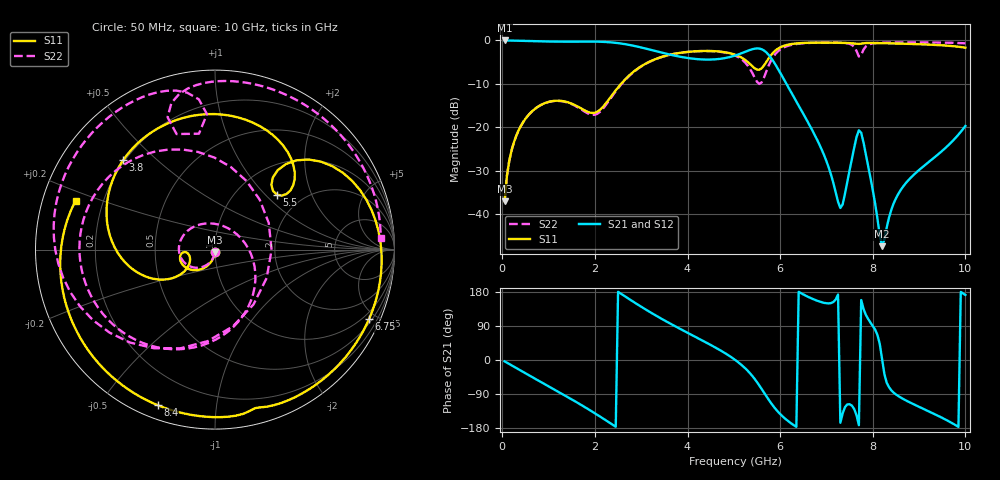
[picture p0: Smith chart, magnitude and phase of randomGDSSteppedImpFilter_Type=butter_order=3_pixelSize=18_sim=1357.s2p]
! freq	dB(S11)	phase(S11)	dB(S12)	phase(S12)
!  dB(S21)	phase(S21)	dB(S22)	phase(S22)
!S-par simulation data
#  GHz  S  DB  R 50
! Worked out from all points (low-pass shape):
!   200 points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, 50 MHz to 10 GHz, reference 50 ohm
!   highest |S21| = -0.01 dB at 50 MHz (marker M1); lowest = -47.4 dB at 8.2 GHz (marker M2)
!   |S21| within 3 dB of the highest: start of sweep to 3.519 GHz; 5.153 GHz to 5.724 GHz (571.1 MHz wide, 10.5 % of centre)
!   lowest |S11| = -37.0 dB at 50 MHz (marker M3), VSWR 1.03, Z = 49.9 - j1.41 ohm
!   |S11| at or under -10 dB: start of sweep to 2.565 GHz
!   |S22| runs from -37.0 to -0.5 dB; largest |S21 - S12| = 0
!   S11 on the Smith chart (normalised r, x): 50 MHz: 1.00, -0.03; 3.8 GHz: 0.19, +0.39; 5.5 GHz: 1.51, +1.17; 6.75 GHz: 0.67, -4.56; 8.4 GHz: 0.06, -0.70; 10 GHz: 0.10, +0.17
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0.05  -37.00 -91.6  -0.01 -3.6  -0.01 -3.6  -37.01 -92.2
0.2  -25.32 -103.0  -0.04 -14.1  -0.04 -14.1  -25.33 -104.9
0.55  -17.36 -125.9  -0.13 -38.5  -0.13 -38.5  -17.37 -131.9
1.15  -13.89 -160.0  -0.28 -79.6  -0.28 -79.6  -13.93 -179.9
1.75  -15.94 -174.3  -0.26 -121.9  -0.26 -121.9  -16.20 110.3
2.5  -10.81 -146.3  -0.62 179.9  -0.62 179.9  -11.01 -37.0
3.4  -3.95 162.2  -2.70 111.4  -2.70 111.4  -3.97 -120.8
3.8  -2.93 135.9  -3.67 84.7  -3.67 84.7  -2.93 -147.3
4.5  -2.44 90.1  -4.40 39.8  -4.40 39.8  -2.46 170.3
5.05  -3.38 53.3  -3.40 -1.7  -3.40 -1.7  -3.60 127.0
5.5  -6.72 41.6  -1.84 -58.4  -1.84 -58.4  -9.52 26.3
5.85  -2.81 44.0  -4.75 -121.4  -4.75 -121.4  -3.79 -121.7
6.2  -0.91 14.1  -11.23 -163.9  -11.23 -163.9  -1.15 -174.9
6.7  -0.53 -21.1  -20.80 161.3  -20.80 161.3  -0.55 147.6
6.75  -0.52 -24.3  -21.83 158.8  -21.83 158.8  -0.53 144.7
7.3  -0.55 -56.0  -38.57 -165.7  -38.57 -165.7  -0.53 115.6
7.75  -0.73 -77.7  -21.25 158.2  -21.25 158.2  -3.37 108.4
8.2  -0.64 -100.6  -47.35 3.0  -47.35 3.0  -0.52 86.2
8.35  -0.68 -107.8  -40.80 -71.6  -40.80 -71.6  -0.48 79.3
8.4  -0.69 -110.2  -38.99 -79.9  -38.99 -79.9  -0.47 77.0
9.35  -1.04 -157.0  -26.77 -143.6  -26.77 -143.6  -0.49 35.6
10  -1.69 160.7  -19.69 171.5  -19.69 171.5  -0.67 4.1
